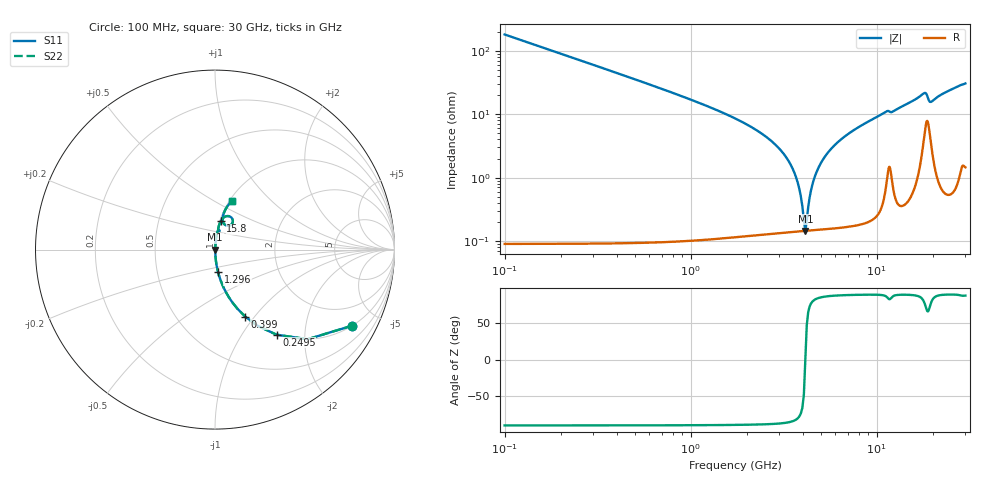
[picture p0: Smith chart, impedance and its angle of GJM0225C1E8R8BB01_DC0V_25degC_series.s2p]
!Murata Part Number: GJM0225C1E8R8BB01
!These Parameters are Measured in Series Mode Connection
!  o--ll--o
!Port1  Port2
!  o------o
!Operation Temp=25[degC], DC Bias Voltage=0[V]
!Freq. Start=100[MHz] Stop=30[GHz], 401[Steps]
!Data Generated on Feb 1, 2023
# Hz S RI R 50
!Freq.(Hz) S11(Real) S11(Imag) S21(Real) S21(Imag) S12(Real) S12(Imag) S22(Real) S22(Imag)
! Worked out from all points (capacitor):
!   401 points, 100 MHz to 30 GHz, reference 50 ohm
!   read as one part in series: C = 8.8 pF near 249.5 MHz
!   lowest |Z| = 145 mohm at 4.136 GHz (marker M1)
!   series resonance near 4.137 GHz, so ESL is about 170 pH
!   S11 on the Smith chart (normalised r, x): 100 MHz: 1.00, -3.62; 249.5 MHz: 1.00, -1.44; 399 MHz: 1.00, -0.90; 1.296 GHz: 1.00, -0.25; 15.8 GHz: 1.01, +0.33; 30 GHz: 1.03, +0.61
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1e8  0.7655 -0.4234  0.2345 0.4234  0.2345 0.4234  0.7655 -0.4234
2.495e8  0.343 -0.4741  0.657 0.4741  0.657 0.4741  0.343 -0.4741
3.99e8  0.1683 -0.3731  0.8317 0.3731  0.8317 0.3731  0.1683 -0.3731
6.98e8  0.0603 -0.2362  0.9397 0.2362  0.9397 0.2362  0.0603 -0.2362
1.296e9  0.0166 -0.1235  0.9834 0.1235  0.9834 0.1235  0.0166 -0.1235
3.31425e9  0.00175 -0.0194  0.9983 0.0194  0.9983 0.0194  0.00175 -0.0194
3.688e9  0.00151 -0.01  0.9985 0.01  0.9985 0.01  0.00151 -0.01
3.987e9  0.00144 -0.00322  0.9986 0.00322  0.9986 0.00322  0.00144 -0.00322
4.1365e9  0.00144 -1.41e-05  0.9986 1.41e-05  0.9986 1.41e-05  0.00144 -1.41e-05
4.286e9  0.00147 0.00308  0.9985 -0.00308  0.9985 -0.00308  0.00147 0.00308
4.585e9  0.00156 0.00897  0.9984 -0.00897  0.9984 -0.00897  0.00156 0.00897
5.10825e9  0.00186 0.0185  0.9981 -0.0185  0.9981 -0.0185  0.00186 0.0185
5.781e9  0.00245 0.0297  0.9975 -0.0297  0.9975 -0.0297  0.00245 0.0297
6.8275e9  0.00374 0.0456  0.9963 -0.0456  0.9963 -0.0456  0.00374 0.0456
1.01165e10  0.0109 0.0907  0.9891 -0.0907  0.9891 -0.0907  0.0109 0.0907
1.505e10  0.0271 0.1479  0.9729 -0.1479  0.9729 -0.1479  0.0271 0.1479
1.57975e10  0.0322 0.1587  0.9678 -0.1587  0.9678 -0.1587  0.0322 0.1587
1.804e10  0.081 0.1851  0.919 -0.1851  0.919 -0.1851  0.081 0.1851
1.9236e10  0.0691 0.1328  0.9309 -0.1328  0.9309 -0.1328  0.0691 0.1328
2.005825e10  0.045 0.152  0.955 -0.152  0.955 -0.152  0.045 0.152
2.50665e10  0.0605 0.2274  0.9395 -0.2274  0.9395 -0.2274  0.0605 0.2274
3e10  0.0961 0.2719  0.9039 -0.2719  0.9039 -0.2719  0.0961 0.2719
